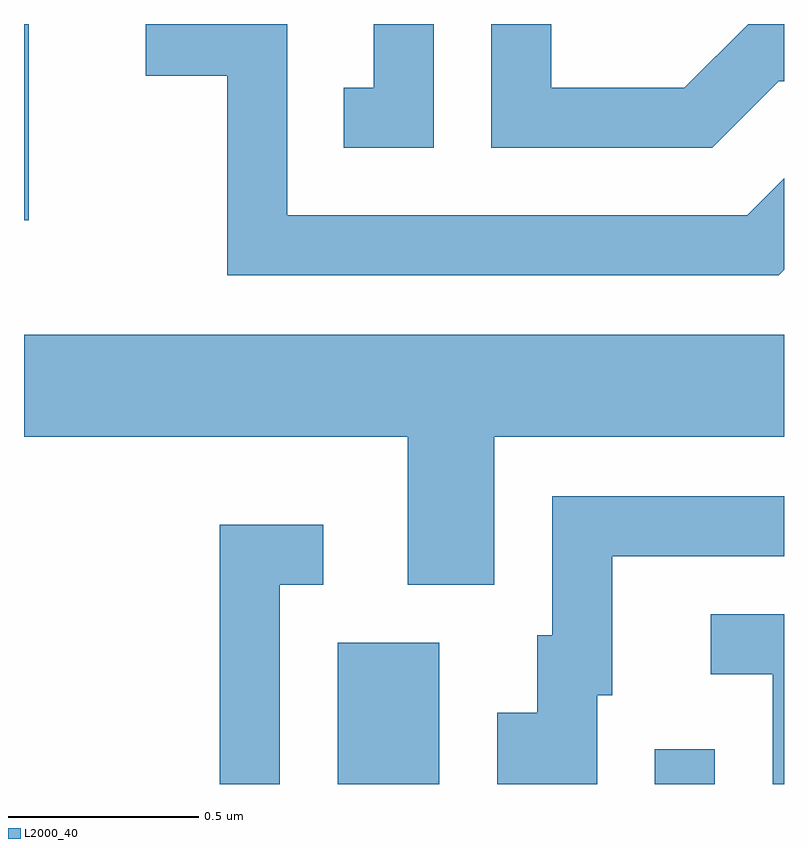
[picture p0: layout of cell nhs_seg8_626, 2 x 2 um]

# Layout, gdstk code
import gdstk
lib = gdstk.Library(unit=1e-6, precision=1e-09)
def R(c, l, rs):  # rectangles x0, y0, x1, y1
    for r in rs: c.add(gdstk.rectangle(r[:2], r[2:], *l))
def P(c, l, *ps):  # polygons
    for p in ps: c.add(gdstk.Polygon(p, *l))
L2000_40 = (2000, 40)

nhs_seg8_626 = lib.new_cell('nhs_seg8_626')
R(nhs_seg8_626, L2000_40, [(190.436,1884.342,190.704,1884.714), (191.271,1884.342,191.429,1884.433), (189.611,1885.826,189.624,1886.342)])
P(nhs_seg8_626, L2000_40, [(191.611,1885.695),(191.611,1885.936),(191.514,1885.839),(190.304,1885.839),(190.304,1886.342),(189.931,1886.342),(189.931,1886.206),(190.146,1886.206),(190.146,1885.681),(191.597,1885.681)],
  [(191.597,1886.191),(191.611,1886.191),(191.611,1886.342),(191.517,1886.342),(191.349,1886.174),(190.999,1886.174),(190.999,1886.342),(190.841,1886.342),(190.841,1886.016),(191.422,1886.016)],
  [(190.689,1886.342),(190.531,1886.342),(190.531,1886.174),(190.453,1886.174),(190.453,1886.016),(190.689,1886.016)],
  [(190.849,1885.256),(191.611,1885.256),(191.611,1885.524),(189.611,1885.524),(189.611,1885.256),(190.621,1885.256),(190.621,1884.866),(190.849,1884.866)],
  [(191.119,1884.576),(191.159,1884.576),(191.159,1884.941),(191.611,1884.941),(191.611,1885.099),(191.001,1885.099),(191.001,1884.734),(190.961,1884.734),(190.961,1884.529),(190.856,1884.529),(190.856,1884.342),(191.119,1884.342)],
  [(190.284,1884.866),(190.398,1884.866),(190.398,1885.024),(190.126,1885.024),(190.126,1884.342),(190.284,1884.342)],
  [(191.611,1884.789),(191.418,1884.789),(191.418,1884.631),(191.581,1884.631),(191.581,1884.342),(191.611,1884.342)])

lib.write_gds('nhs_seg8_626.gds')
